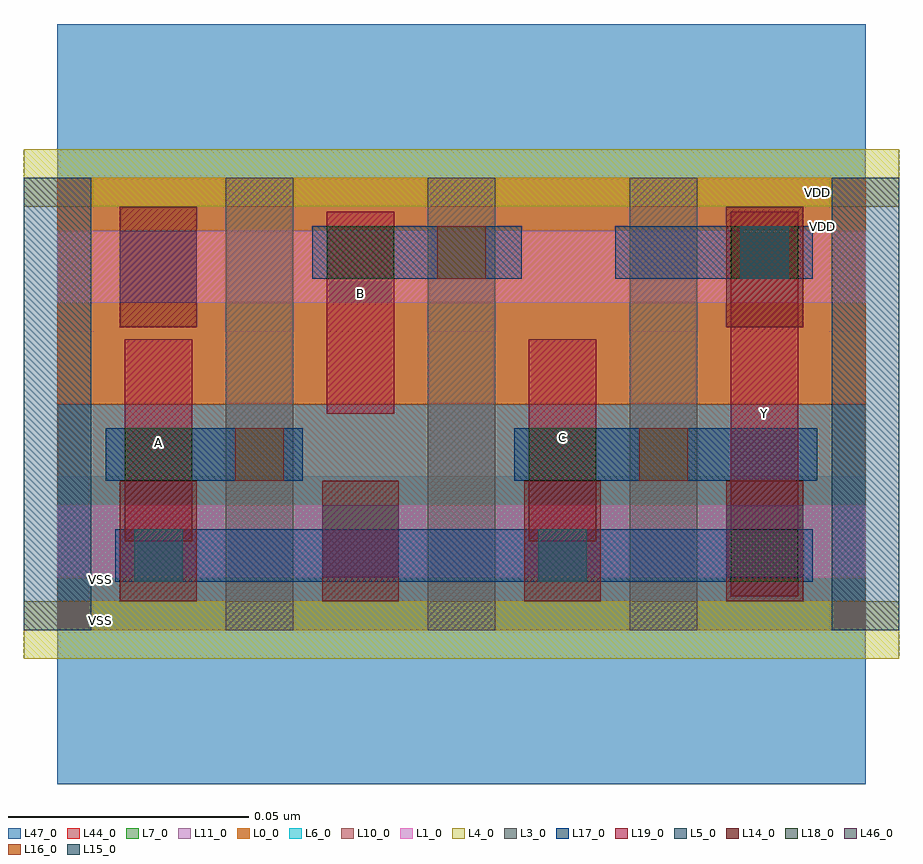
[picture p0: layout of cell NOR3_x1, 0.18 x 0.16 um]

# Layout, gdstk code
import gdstk
lib = gdstk.Library(unit=1e-6, precision=5e-10)
def R(c, l, rs):  # rectangles x0, y0, x1, y1
    for r in rs: c.add(gdstk.rectangle(r[:2], r[2:], *l))
def A(c, l, x, y, w, h, nx, ny, dx, dy):  # array of equal rectangles
    R(c, l, [(x+i*dx, y+j*dy, x+i*dx+w, y+j*dy+h) for i in range(nx) for j in range(ny)])
L0_0 = (0, 0)
L1_0 = (1, 0)
L3_0 = (3, 0)
L4_0 = (4, 0)
L5_0 = (5, 0)
L6_0 = (6, 0)
L7_0 = (7, 0)
L10_0 = (10, 0)
L11_0 = (11, 0)
L14_0 = (14, 0)
L15_0 = (15, 0)
L16_0 = (16, 0)
L17_0 = (17, 0)
L18_0 = (18, 0)
L19_0 = (19, 0)
L44_0 = (44, 0)
L46_0 = (46, 0)
L47_0 = (47, 0)

nor3_x1 = lib.new_cell('NOR3_x1')
R(nor3_x1, L0_0, [(0,0.047,0.168,0.094)])
R(nor3_x1, L1_0, [(0,0.011,0.168,0.026), (0,0.068,0.168,0.083)])
A(nor3_x1, L3_0, 0.035, 0, 0.014, 0.094, 3, 1, 0.042, 0)
R(nor3_x1, L4_0, [(-0.007,-0.006,0.175,0.006), (-0.007,0.088,0.175,0.1)])
R(nor3_x1, L5_0, [(-0.007,0,0.007,0.094), (0.161,0,0.175,0.094)])
R(nor3_x1, L6_0, [(0,0,0.168,0.047)])
R(nor3_x1, L7_0, [(0,0.047,0.168,0.094)])
R(nor3_x1, L10_0, [(0,0,0.168,0.047)])
R(nor3_x1, L11_0, [(0,0.047,0.168,0.094)])
A(nor3_x1, L14_0, 0.013, 0.006, 0.016, 0.025, 4, 1, 0.042, 0)
R(nor3_x1, L14_0, [(0.013,0.063,0.029,0.088), (0.139,0.063,0.155,0.088)])
R(nor3_x1, L15_0, [(0.016,0.01,0.026,0.021), (0.1,0.01,0.11,0.021), (0.142,0.073,0.152,0.084)])
R(nor3_x1, L16_0, [(0.037,0.031,0.047,0.042), (0.121,0.031,0.131,0.042), (0.079,0.073,0.089,0.084)])
R(nor3_x1, L17_0, [(0.012,0.01,0.157,0.021), (0.01,0.031,0.051,0.042), (0.095,0.031,0.158,0.042), (0.053,0.073,0.0965,0.084), (0.116,0.073,0.157,0.084)])
R(nor3_x1, L18_0, [(0.14,0.01,0.154,0.021), (0.014,0.031,0.028,0.042), (0.098,0.031,0.112,0.042), (0.056,0.073,0.07,0.084), (0.14,0.073,0.154,0.084)])
R(nor3_x1, L19_0, [(0.14,0.007,0.154,0.087), (0.014,0.0185,0.028,0.0605), (0.098,0.0185,0.112,0.0605), (0.056,0.045,0.07,0.087)])
R(nor3_x1, L44_0, [(0,0,0.168,0.094)])
R(nor3_x1, L46_0, [(0.055,0.011,0.071,0.026), (0.139,0.011,0.155,0.026), (0.013,0.068,0.029,0.083)])
R(nor3_x1, L47_0, [(0,-0.032,0.168,0.032), (0,0.062,0.168,0.126)])
nor3_x1.add(gdstk.Label('VDD', (0.158,0.091), layer=0, texttype=2))
nor3_x1.add(gdstk.Label('A', (0.021,0.039), layer=19, texttype=2))
nor3_x1.add(gdstk.Label('C', (0.105,0.04), layer=19, texttype=2))
nor3_x1.add(gdstk.Label('B', (0.063,0.07), layer=19, texttype=2))
nor3_x1.add(gdstk.Label('Y', (0.147,0.045), layer=19, texttype=2))
nor3_x1.add(gdstk.Label('VDD', (0.159,0.084), layer=47, texttype=2))
nor3_x1.add(gdstk.Label('VSS', (0.009,0.0105), layer=47, texttype=2))
nor3_x1.add(gdstk.Label('VSS', (0.009,0.002), layer=54, texttype=2))

lib.write_gds('NOR3_x1.gds')
